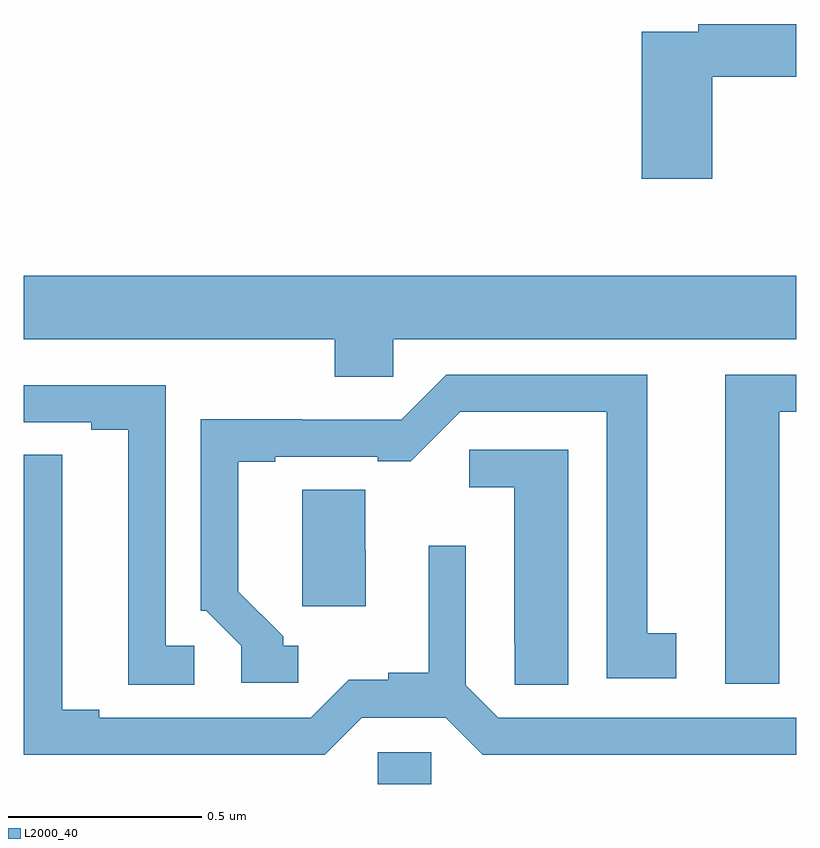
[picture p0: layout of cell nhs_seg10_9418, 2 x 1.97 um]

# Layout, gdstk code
import gdstk
lib = gdstk.Library(unit=1e-6, precision=1e-09)
def R(c, l, rs):  # rectangles x0, y0, x1, y1
    for r in rs: c.add(gdstk.rectangle(r[:2], r[2:], *l))
def P(c, l, *ps):  # polygons
    for p in ps: c.add(gdstk.Polygon(p, *l))
L2000_40 = (2000, 40)

nhs_seg10_9418 = lib.new_cell('nhs_seg10_9418')
R(nhs_seg10_9418, L2000_40, [(229.917,1296.5,230.055,1296.582)])
P(nhs_seg10_9418, L2000_40, [(230.783,1298.332),(231,1298.332),(231,1298.468),(230.746,1298.468),(230.746,1298.448),(230.6,1298.448),(230.6,1298.067),(230.783,1298.067)],
  [(229.956,1297.652),(231,1297.652),(231,1297.816),(229,1297.816),(229,1297.652),(229.805,1297.652),(229.805,1297.554),(229.956,1297.554)],
  [(230.956,1297.464),(231,1297.464),(231,1297.56),(230.816,1297.56),(230.816,1296.759),(230.956,1296.759)],
  [(229.711,1296.858),(229.672,1296.858),(229.672,1296.882),(229.555,1296.998),(229.555,1297.335),(229.651,1297.335),(229.651,1297.347),(229.916,1297.347),(229.916,1297.336),(230.002,1297.336),(230.13,1297.464),(230.51,1297.464),(230.51,1296.774),(230.689,1296.774),(230.689,1296.89),(230.614,1296.89),(230.614,1297.56),(230.094,1297.56),(229.977,1297.443),(229.721,1297.443),(229.721,1297.445),(229.458,1297.445),(229.458,1296.948),(229.473,1296.948),(229.563,1296.858),(229.563,1296.762),(229.711,1296.762)],
  [(229.441,1296.858),(229.368,1296.858),(229.368,1297.533),(229,1297.533),(229,1297.437),(229.175,1297.437),(229.175,1297.417),(229.271,1297.417),(229.271,1296.757),(229.441,1296.757)],
  [(230.41,1297.365),(230.154,1297.365),(230.154,1297.268),(230.27,1297.268),(230.27,1296.865),(230.271,1296.865),(230.271,1296.757),(230.41,1296.757)],
  [(229.875,1296.672),(230.093,1296.672),(230.189,1296.576),(231,1296.576),(231,1296.672),(230.229,1296.672),(230.145,1296.756),(230.145,1297.117),(230.048,1297.117),(230.048,1296.788),(229.944,1296.788),(229.944,1296.77),(229.841,1296.77),(229.743,1296.672),(229.195,1296.672),(229.195,1296.692),(229.099,1296.692),(229.099,1297.352),(229,1297.352),(229,1296.576),(229.779,1296.576)],
  [(229.885,1297.104),(229.884,1297.104),(229.884,1297.262),(229.721,1297.262),(229.721,1296.96),(229.885,1296.96)])

lib.write_gds('nhs_seg10_9418.gds')
